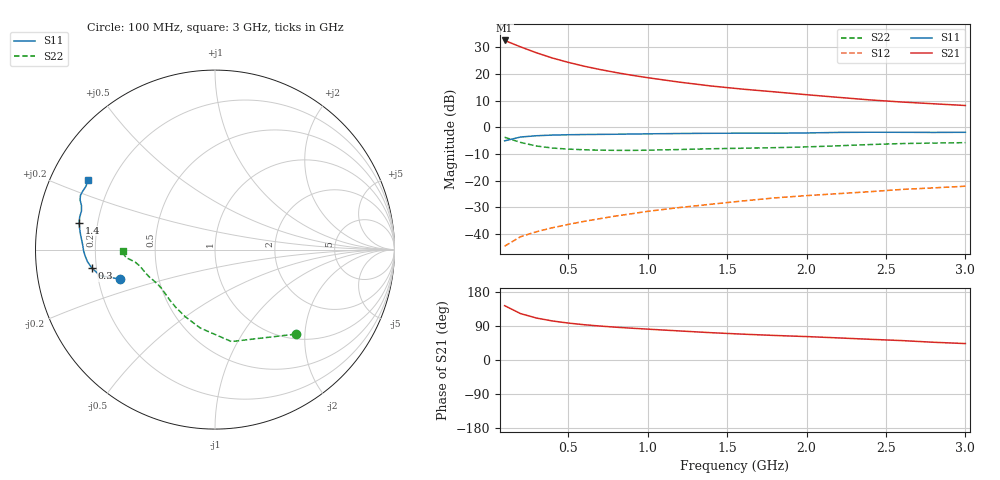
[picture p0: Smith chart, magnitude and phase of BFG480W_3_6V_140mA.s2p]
! Filename: 3_6140BFG480.001
! Title: BFG480W
! Bias: Vce=3.6V; Ic=140mA
! Company: Philips Semiconductors NL
! User: Quality&Reliability T&D
! Measure time: 10 Nov 1999 / 12:01:48
#  MHz  S  MA  R 50
! Freq  S11  S21  S12  S22  :
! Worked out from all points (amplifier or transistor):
!   20 points, 100 MHz to 3 GHz, reference 50 ohm
!   highest |S21| = 32.6 dB at 100 MHz (marker M1)
!   |S21| within 3 dB of that: start of sweep to 226.9 MHz
!   unconditionally stable (mu >= 1): 485.7 MHz to end of sweep
!   at 400 MHz: K = 0.95, MSG = 31.9 dB, |S12| = -37.8 dB
!   at 1.2 GHz: K = 1.12, MAG = 21.4 dB, |S12| = -30.2 dB
!   at 3 GHz: K = 1.08, MAG = 13.4 dB, |S12| = -22.1 dB
!   S11 on the Smith chart (normalised r, x): 100 MHz: 0.29, -0.14; 300 MHz: 0.18, -0.07; 1.4 GHz: 0.13, +0.10; 3 GHz: 0.11, +0.25
100  0.5565 -162.9  42.8 143.4  0.005845 67.6  0.6505 -46.4
200  0.6563 -167.2  32.46 122.5  0.008798 60.6  0.5205 -79.8
300  0.6939 -171.5  25.15 110.8  0.0109 61.1  0.4448 -100.6
400  0.7138 -174.6  20.06 103.0  0.01295 63.7  0.4079 -114.4
500  0.7245 -177.2  16.62 97.5  0.01496 66.3  0.3892 -124.0
600  0.7317 -179.3  14.06 93.1  0.0171 68.3  0.3786 -131.0
700  0.7358 178.8  12.19 89.6  0.01921 70.2  0.3722 -136.2
800  0.7407 177.0  10.7 86.6  0.02154 71.8  0.369 -140.6
900  0.7472 175.3  9.505 83.9  0.02378 73.5  0.3686 -144.4
1000  0.7534 173.7  8.554 81.4  0.02637 74.3  0.3712 -147.7
1200  0.7644 170.9  7.058 76.7  0.03107 75.7  0.3824 -153.1
1400  0.7718 168.7  5.97 72.1  0.03588 76.4  0.3954 -157.0
1600  0.7754 166.4  5.207 68.2  0.04136 76.8  0.4043 -160.1
1800  0.7743 163.9  4.629 64.8  0.04718 77.1  0.4142 -163.5
2000  0.7831 161.8  4.097 61.8  0.05206 77.6  0.4281 -167.6
2200  0.8013 159.8  3.652 58.3  0.05669 77.4  0.4494 -171.0
2400  0.8083 158.0  3.269 54.6  0.06174 76.7  0.4746 -173.2
2600  0.8056 156.2  2.985 51.2  0.06799 75.9  0.4949 -174.6
2800  0.8008 153.9  2.766 46.8  0.07278 74.3  0.5057 -176.4
3000  0.8059 151.2  2.568 43.4  0.07825 73.5  0.5146 -179.2
